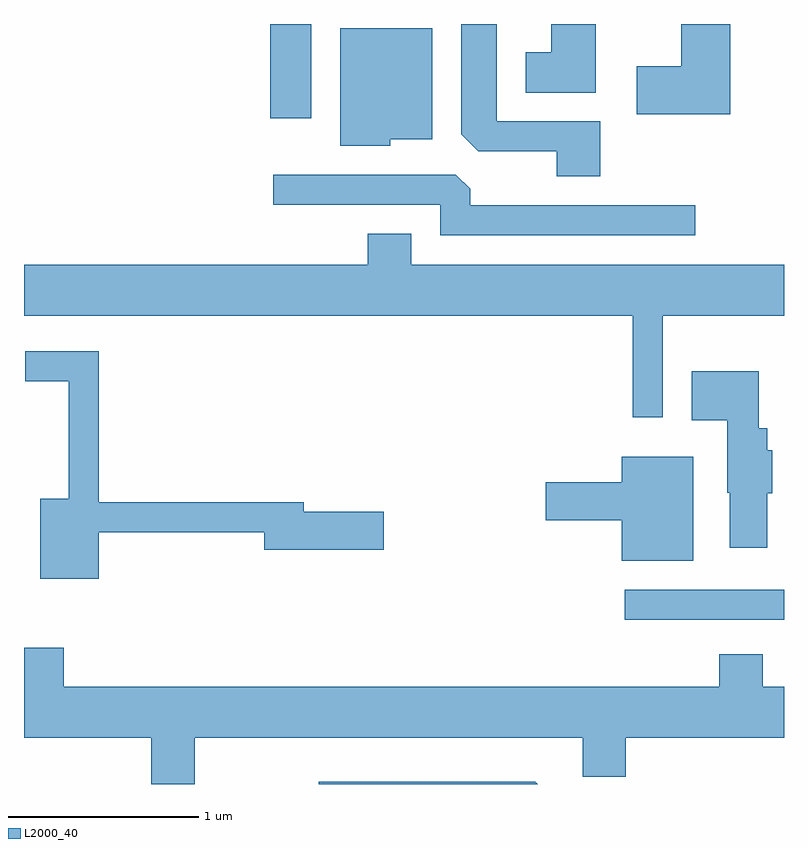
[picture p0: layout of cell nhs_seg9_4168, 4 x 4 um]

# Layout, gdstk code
import gdstk
lib = gdstk.Library(unit=1e-6, precision=1e-09)
def R(c, l, rs):  # rectangles x0, y0, x1, y1
    for r in rs: c.add(gdstk.rectangle(r[:2], r[2:], *l))
def P(c, l, *ps):  # polygons
    for p in ps: c.add(gdstk.Polygon(p, *l))
L2000_40 = (2000, 40)

nhs_seg9_4168 = lib.new_cell('nhs_seg9_4168')
R(nhs_seg9_4168, L2000_40, [(310.773,2021.296,311.611,2021.454), (308.906,2023.936,309.124,2024.432)])
P(nhs_seg9_4168, L2000_40, [(310.619,2024.432),(310.386,2024.432),(310.386,2024.284),(310.251,2024.284),(310.251,2024.071),(310.619,2024.071)],
  [(311.329,2024.432),(311.071,2024.432),(311.071,2024.209),(310.836,2024.209),(310.836,2023.956),(311.329,2023.956)],
  [(310.644,2023.919),(310.099,2023.919),(310.099,2024.432),(309.911,2024.432),(309.911,2023.852),(310.002,2023.761),(310.416,2023.761),(310.416,2023.631),(310.644,2023.631)],
  [(309.539,2023.826),(309.759,2023.826),(309.759,2024.409),(309.276,2024.409),(309.276,2023.791),(309.539,2023.791)],
  [(311.143,2023.479),(309.959,2023.479),(309.959,2023.564),(309.884,2023.639),(308.923,2023.639),(308.923,2023.481),(309.801,2023.481),(309.801,2023.321),(311.143,2023.321)],
  [(310.974,2022.896),(311.611,2022.896),(311.611,2023.164),(309.649,2023.164),(309.649,2023.329),(309.421,2023.329),(309.421,2023.164),(307.611,2023.164),(307.611,2022.896),(310.816,2022.896),(310.816,2022.363),(310.974,2022.363)],
  [(308.004,2021.756),(308.876,2021.756),(308.876,2021.666),(309.504,2021.666),(309.504,2021.864),(309.084,2021.864),(309.084,2021.914),(308.004,2021.914),(308.004,2022.709),(307.618,2022.709),(307.618,2022.551),(307.846,2022.551),(307.846,2021.934),(307.696,2021.934),(307.696,2021.511),(308.004,2021.511)],
  [(311.524,2021.961),(311.549,2021.961),(311.549,2022.189),(311.524,2022.189),(311.524,2022.304),(311.479,2022.304),(311.479,2022.604),(311.126,2022.604),(311.126,2022.346),(311.311,2022.346),(311.311,2021.965),(311.326,2021.965),(311.326,2021.676),(311.524,2021.676)],
  [(311.134,2022.154),(310.756,2022.154),(310.756,2022.019),(310.356,2022.019),(310.356,2021.821),(310.756,2021.821),(310.756,2021.606),(311.134,2021.606)],
  [(308.509,2020.676),(310.551,2020.676),(310.551,2020.471),(310.779,2020.471),(310.779,2020.676),(311.611,2020.676),(311.611,2020.944),(311.499,2020.944),(311.499,2021.114),(311.271,2021.114),(311.271,2020.944),(307.819,2020.944),(307.819,2021.149),(307.611,2021.149),(307.611,2020.676),(308.281,2020.676),(308.281,2020.432),(308.509,2020.432)],
  [(310.302,2020.444),(309.163,2020.444),(309.163,2020.432),(310.314,2020.432)])

lib.write_gds('nhs_seg9_4168.gds')
